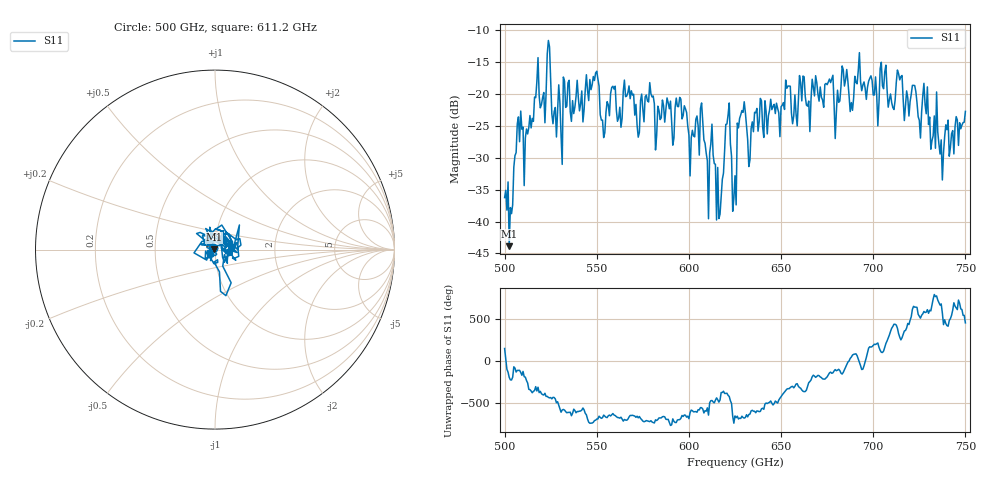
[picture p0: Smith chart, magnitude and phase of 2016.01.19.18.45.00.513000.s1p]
!Created with skrf (http://scikit-rf.org).
# GHz S RI R 50.0
!freq ReS11 ImS11
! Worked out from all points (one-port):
!   401 points, 500 GHz to 750 GHz, reference 50 ohm
!   lowest |S11| = -43.9 dB at 502.5 GHz (marker M1), VSWR 1.01, Z = 49.4 + j0.178 ohm
!   |S11| at or under -10 dB: start of sweep to end of sweep
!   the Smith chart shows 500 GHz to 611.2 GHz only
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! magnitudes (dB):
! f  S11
! 500 GHz  -36.2
! 502.5 GHz  -43.9
! 508.1 GHz  -27.5
! 511.9 GHz  -25.5
! 523.8 GHz  -11.6
! 526.9 GHz  -22.7
! 531.2 GHz  -31.0
! 549.4 GHz  -16.7
! 553.1 GHz  -24.1
! 558.8 GHz  -18.8
! 562.5 GHz  -22.1
! 593.8 GHz  -21.9
! 601.2 GHz  -26.9
! 607.5 GHz  -24.2
! 616.2 GHz  -39.5
! 621.2 GHz  -23.3
! 625 GHz  -32.8
! 628.8 GHz  -22.6
! 632.5 GHz  -31.4
! 656.2 GHz  -24.6
! 680.6 GHz  -19.4
! 684.4 GHz  -18.7
! 687.5 GHz  -22.7
! 691.2 GHz  -18.4
! 718.8 GHz  -20.6
! 728.1 GHz  -21.6
! 736.9 GHz  -27.2
! 750 GHz  -22.7
